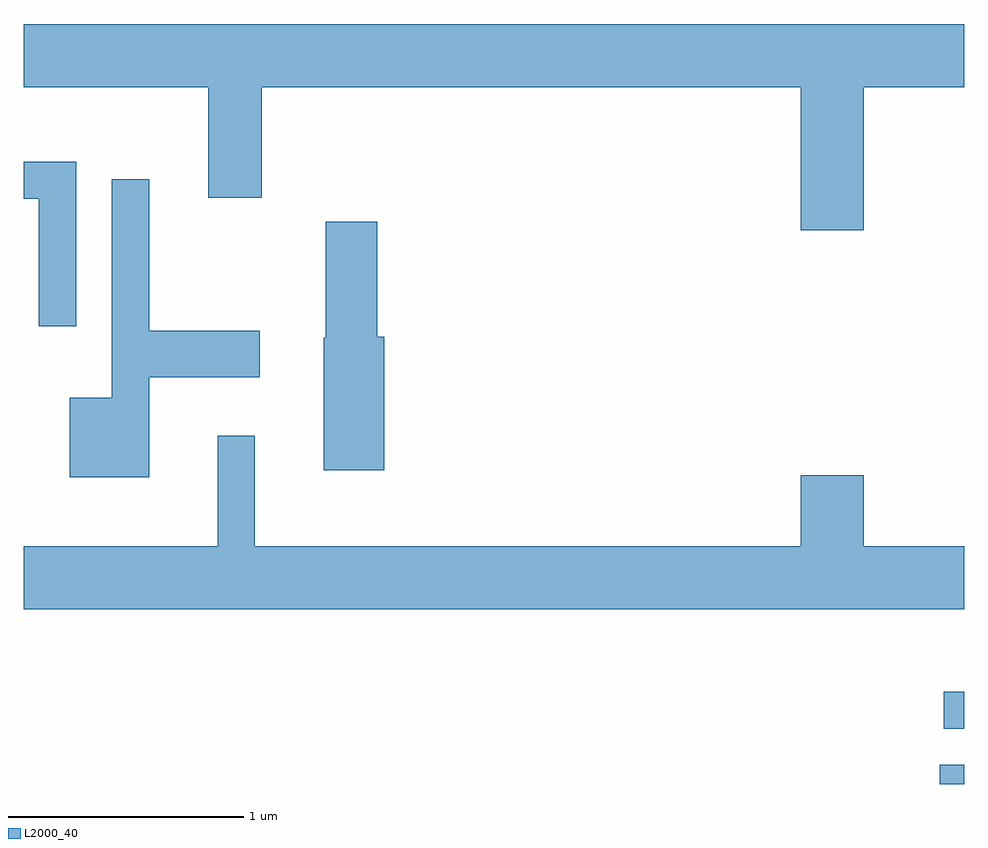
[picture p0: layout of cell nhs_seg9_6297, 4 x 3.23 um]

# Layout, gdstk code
import gdstk
lib = gdstk.Library(unit=1e-6, precision=1e-09)
def R(c, l, rs):  # rectangles x0, y0, x1, y1
    for r in rs: c.add(gdstk.rectangle(r[:2], r[2:], *l))
def P(c, l, *ps):  # polygons
    for p in ps: c.add(gdstk.Polygon(p, *l))
L2000_40 = (2000, 40)

nhs_seg9_6297 = lib.new_cell('nhs_seg9_6297')
R(nhs_seg9_6297, L2000_40, [(375.506,1964.432,375.611,1964.514), (375.523,1964.666,375.611,1964.824)])
P(nhs_seg9_6297, L2000_40, [(375.184,1967.396),(375.611,1967.396),(375.611,1967.664),(371.611,1967.664),(371.611,1967.396),(372.396,1967.396),(372.396,1966.926),(372.624,1966.926),(372.624,1967.396),(374.916,1967.396),(374.916,1966.786),(375.184,1966.786)],
  [(371.834,1967.079),(371.611,1967.079),(371.611,1966.921),(371.676,1966.921),(371.676,1966.378),(371.834,1966.378)],
  [(372.144,1966.161),(372.614,1966.161),(372.614,1966.359),(372.144,1966.359),(372.144,1967.003),(371.986,1967.003),(371.986,1966.074),(371.806,1966.074),(371.806,1965.736),(372.144,1965.736)],
  [(373.144,1966.334),(373.114,1966.334),(373.114,1966.824),(372.896,1966.824),(372.896,1966.33),(372.886,1966.33),(372.886,1965.766),(373.144,1965.766)],
  [(375.611,1965.444),(375.184,1965.444),(375.184,1965.744),(374.916,1965.744),(374.916,1965.444),(372.594,1965.444),(372.594,1965.913),(372.436,1965.913),(372.436,1965.444),(371.611,1965.444),(371.611,1965.176),(375.611,1965.176)])

lib.write_gds('nhs_seg9_6297.gds')
